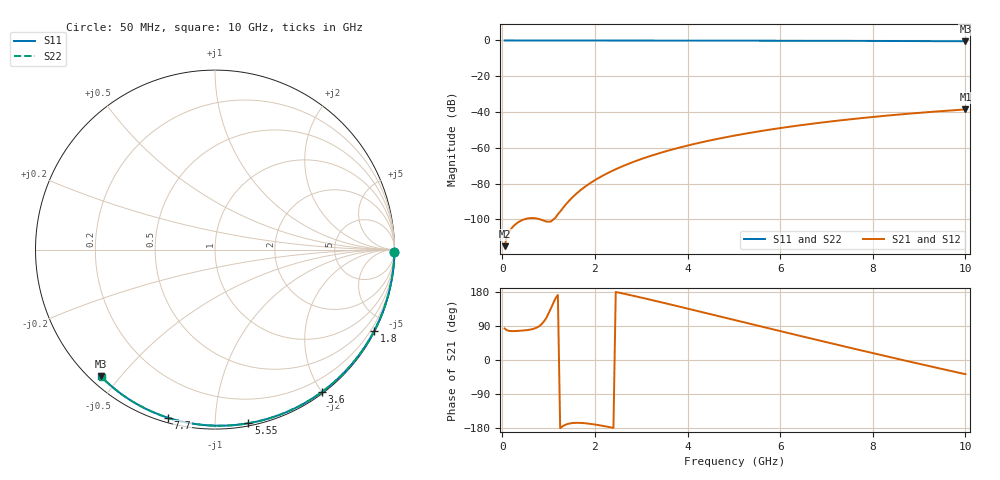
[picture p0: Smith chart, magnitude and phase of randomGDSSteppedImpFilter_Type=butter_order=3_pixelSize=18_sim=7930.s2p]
! freq	dB(S11)	phase(S11)	dB(S12)	phase(S12)
!  dB(S21)	phase(S21)	dB(S22)	phase(S22)
!S-par simulation data
#  GHz  S  DB  R 50
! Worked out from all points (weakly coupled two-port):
!   200 points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, 50 MHz to 10 GHz, reference 50 ohm
!   highest |S21| = -38.56 dB at 10 GHz (marker M1); lowest = -115.0 dB at 50 MHz (marker M2)
!   lowest |S11| = -0.4 dB at 10 GHz (marker M3), VSWR 38.99, Z = 1.54 - j22.2 ohm
!   |S11| at or under -10 dB: nowhere
!   |S22| runs from -0.4 to 0.0 dB; largest |S21 - S12| = 0
!   S11 on the Smith chart (normalised r, x): 50 MHz: open; 1.8 GHz: 0.04, -4.15; 3.6 GHz: 0.02, -2.01; 5.55 GHz: 0.02, -1.21; 7.7 GHz: 0.02, -0.76; 10 GHz: 0.03, -0.44
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0.05  -0.00 -0.8  -115.00 83.0  -115.00 83.0  -0.00 -0.8
0.9  -0.02 -13.7  -100.80 102.0  -100.80 102.0  -0.02 -13.6
1.75  -0.03 -26.3  -82.46 -166.5  -82.46 -166.5  -0.03 -26.2
1.8  -0.03 -27.1  -81.51 -167.0  -81.51 -167.0  -0.03 -27.0
1.85  -0.04 -27.8  -80.60 -167.7  -80.60 -167.7  -0.04 -27.7
1.9  -0.04 -28.6  -79.73 -168.5  -79.73 -168.5  -0.04 -28.4
2.05  -0.04 -30.8  -77.32 -171.2  -77.32 -171.2  -0.04 -30.6
2.25  -0.04 -33.7  -74.48 -175.6  -74.48 -175.6  -0.04 -33.6
2.45  -0.05 -36.6  -71.98 179.5  -71.98 179.5  -0.05 -36.4
2.65  -0.05 -39.5  -69.74 174.3  -69.74 174.3  -0.05 -39.3
3  -0.06 -44.5  -66.30 164.7  -66.30 164.7  -0.06 -44.3
3.4  -0.07 -50.2  -62.95 153.3  -62.95 153.3  -0.07 -50.0
3.6  -0.07 -53.0  -61.45 147.5  -61.45 147.5  -0.07 -52.7
4.3  -0.09 -62.6  -56.93 126.8  -56.93 126.8  -0.09 -62.3
5.05  -0.11 -72.6  -53.01 104.5  -53.01 104.5  -0.11 -72.3
5.55  -0.13 -79.1  -50.78 89.6  -50.78 89.6  -0.13 -78.8
6.1  -0.15 -86.1  -48.61 73.3  -48.61 73.3  -0.15 -85.8
6.7  -0.18 -93.5  -46.52 55.7  -46.52 55.7  -0.18 -93.2
7.7  -0.24 -105.6  -43.55 26.8  -43.55 26.8  -0.24 -105.2
8.35  -0.29 -113.2  -41.91 8.2  -41.91 8.2  -0.29 -112.8
9.15  -0.36 -122.5  -40.15 -14.2  -40.15 -14.2  -0.35 -122.0
10  -0.45 -132.1  -38.56 -37.4  -38.56 -37.4  -0.44 -131.6
